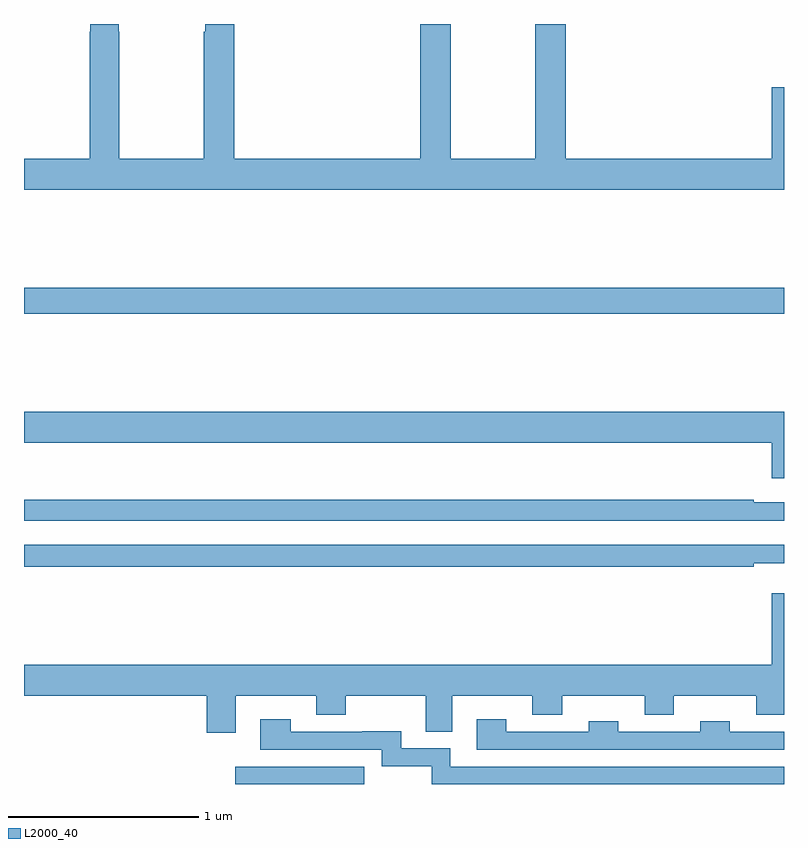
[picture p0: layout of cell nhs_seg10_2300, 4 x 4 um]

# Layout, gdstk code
import gdstk
lib = gdstk.Library(unit=1e-6, precision=1e-09)
def R(c, l, rs):  # rectangles x0, y0, x1, y1
    for r in rs: c.add(gdstk.rectangle(r[:2], r[2:], *l))
def P(c, l, *ps):  # polygons
    for p in ps: c.add(gdstk.Polygon(p, *l))
L2000_40 = (2000, 40)

nhs_seg10_2300 = lib.new_cell('nhs_seg10_2300')
R(nhs_seg10_2300, L2000_40, [(234.113,1318.5,234.792,1318.59), (233,1320.976,237,1321.112)])
P(nhs_seg10_2300, L2000_40, [(237,1322.167),(236.936,1322.167),(236.936,1321.792),(235.85,1321.792),(235.85,1322.5),(235.69,1322.5),(235.69,1321.792),(235.245,1321.792),(235.245,1322.5),(235.085,1322.5),(235.085,1321.792),(234.107,1321.792),(234.107,1322.5),(233.953,1322.5),(233.953,1322.459),(233.947,1322.459),(233.947,1321.792),(233.502,1321.792),(233.502,1322.459),(233.499,1322.459),(233.499,1322.5),(233.349,1322.5),(233.349,1322.459),(233.347,1322.459),(233.347,1321.792),(233,1321.792),(233,1321.628),(237,1321.628)],
  [(237,1320.46),(233,1320.46),(233,1320.296),(236.936,1320.296),(236.936,1320.108),(237,1320.108)],
  [(237,1319.982),(236.84,1319.982),(236.84,1319.995),(233,1319.995),(233,1319.886),(237,1319.886)],
  [(236.84,1319.663),(237,1319.663),(237,1319.76),(233,1319.76),(233,1319.644),(236.84,1319.644)],
  [(234.115,1318.964),(234.538,1318.964),(234.538,1318.865),(234.693,1318.865),(234.693,1318.964),(235.115,1318.964),(235.115,1318.774),(235.255,1318.774),(235.255,1318.964),(235.675,1318.964),(235.675,1318.865),(235.833,1318.865),(235.833,1318.964),(236.266,1318.964),(236.266,1318.865),(236.421,1318.865),(236.421,1318.964),(236.854,1318.964),(236.854,1318.865),(237,1318.865),(237,1319.503),(236.936,1319.503),(236.936,1319.128),(233,1319.128),(233,1318.964),(233.963,1318.964),(233.963,1318.77),(234.115,1318.77)],
  [(237,1318.776),(236.715,1318.776),(236.715,1318.831),(236.56,1318.831),(236.56,1318.776),(236.127,1318.776),(236.127,1318.831),(235.972,1318.831),(235.972,1318.776),(235.539,1318.776),(235.539,1318.84),(235.383,1318.84),(235.383,1318.68),(237,1318.68)],
  [(237,1318.591),(236.851,1318.591),(236.851,1318.59),(235.243,1318.59),(235.243,1318.689),(234.985,1318.689),(234.985,1318.778),(234.781,1318.778),(234.781,1318.776),(234.404,1318.776),(234.404,1318.84),(234.243,1318.84),(234.243,1318.68),(234.884,1318.68),(234.884,1318.593),(235.146,1318.593),(235.146,1318.5),(237,1318.5)])

lib.write_gds('nhs_seg10_2300.gds')
